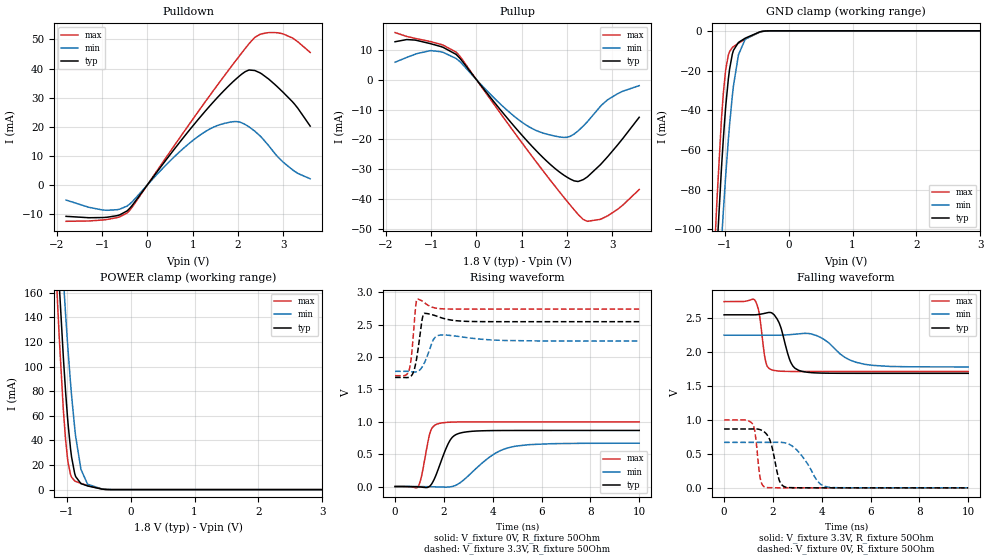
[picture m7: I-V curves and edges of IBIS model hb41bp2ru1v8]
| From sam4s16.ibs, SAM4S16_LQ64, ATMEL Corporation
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[Model] hb41bp2ru1v8
| config_pins "NO PIN CONFIG TO SEARCH"
Model_type   I/O
Polarity   Non-Inverting
Enable   Active-Low
Vinl = 0.4
Vinh = 1.4
Vmeas = 0.9
Vref = 0.90
Cref = 15pF
Rref = 50
|   typ   min   max
C_comp   2.679e-12   2.504e-12   3.091e-12
|C_comp (ON state)   2.436e-12   2.123e-12   3.214e-12
|C_comp (OFF state)   2.921e-12   2.885e-12   2.967e-12
[Voltage Range]   1.8   1.6   1.95
[Temperature Range]   25   125   -40
[Pullup Reference]   1.8   1.6   1.95
[Pulldown Reference]   0   0   0
[Power Clamp Reference]   1.8   1.6   1.95
[GND Clamp Reference]   0   0   0
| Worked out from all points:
|   slope of the pulldown table from 0 to 0.27 V, typ, clamps not added: 47.8 ohm
|   slope of the pullup table from 0 to 0.27 V, typ, clamps not added: 51.9 ohm
|   GND clamp passes 1 mA (typ) near -0.48 V on its own axis
|   POWER clamp passes 1 mA (typ) near -0.50 V on its own axis
|   falling waveform, V_fixture 3.3V, R_fixture 50Ohm: 20-80 % time 409ps typ, 1ns min, 220ps max; typ from 2.55 V to 1.69 V
|   rising waveform, V_fixture 0V, R_fixture 50Ohm: 20-80 % time 549ps typ, 1.31ns min, 304ps max; typ from 0 V to 0.866 V
|   rising waveform, V_fixture 3.3V, R_fixture 50Ohm: 20-80 % time 213ps typ, 299ps min, 150ps max; typ from 1.69 V to 2.55 V
|   falling waveform, V_fixture 0V, R_fixture 50Ohm: 20-80 % time 326ps typ, 727ps min, 182ps max; typ from 0.867 V to 0 V
[Pulldown]
|   Voltage   I(typ)   I(min)   I(max)
-1.8V     -10.84mA   -5.239mA   -12.55mA
-988.8mV  -11.26mA   -8.663mA   -12.1mA
-673.6mV  -10.61mA   -8.561mA   -11.28mA
-450mV    -8.983mA   -7.31mA    -9.691mA
593.6mV   12.25mA    9.636mA    13.47mA
1.238V    24.61mA    17.89mA    27.69mA
1.885V    35.34mA    21.68mA    41.32mA
2.238V    39.44mA    20.01mA    48.39mA
2.484V    38.54mA    16.91mA    51.71mA
2.896V    33.37mA    9.391mA    52.24mA
3.204V    28.62mA    5.213mA    50.51mA
3.598V    20.19mA    2.082mA    45.54mA
[GND Clamp]
|   Voltage   I(typ)   I(min)   I(max)
-1.8V     -645mA     -627.4mA   -664.1mA
-1.141V   -124.1mA   -159.1mA   -99.38mA
-1.12V    -110.4mA   -146.3mA   -85.13mA
-1.049V   -68.94mA   -106.1mA   -44.24mA
-1.021V   -54.36mA   -91.01mA   -31.55mA
-986.9mV  -39.5mA    -74.48mA   -20.48mA
-922.5mV  -19.2mA    -47.17mA   -10.43mA
-862.2mV  -9.825mA   -27.67mA   -7.925mA
-784mV    -5.844mA   -12.06mA   -6.247mA
-678.4mV  -3.704mA   -4.205mA   -4.197mA
-335.6mV  -49.75uA   -87.05uA   -43.74uA
3.598V    0A         0A         0A
[Pullup]
|   Voltage   I(typ)   I(min)   I(max)
-1.8V     12.69mA    5.84mA     15.76mA
-1.541V   13.43mA    7.452mA    14.46mA
-1.016V   12.05mA    9.726mA    12.75mA
-450mV    8.459mA    7.093mA    9.23mA
522.4mV   -9.951mA   -8.071mA   -11.1mA
1.086V    -19.95mA   -15.07mA   -22.76mA
1.777V    -30.21mA   -18.99mA   -36.41mA
2.162V    -33.86mA   -18.16mA   -43.56mA
2.444V    -32.61mA   -14.2mA    -47.35mA
2.734V    -28.54mA   -9.046mA   -46.74mA
3.118V    -21.89mA   -4.72mA    -43.41mA
3.598V    -12.59mA   -1.996mA   -36.76mA
[POWER Clamp]
|   Voltage   I(typ)   I(min)   I(max)
-1.8V     1.013A     972.6mA    1.054A
-1.158V   211.2mA    268.7mA    170.6mA
-1.139V   191.4mA    250.6mA    149.4mA
-1.115V   166.9mA    228mA      123.7mA
-1.049V   106.2mA    169.9mA    63.59mA
-986.9mV  59.37mA    120.2mA    25.84mA
-937.8mV  32.75mA    86.22mA    12.09mA
-873.6mV  13.04mA    50.11mA    7.077mA
-776mV    4.879mA    16.53mA    5.06mA
-672mV    2.976mA    4.384mA    3.358mA
-450mV    457.1uA    573.9uA    481.7uA
3.598V    0A         0A         0A
[Ramp]
R_load = 50
|   typ   min   max
dV/dt_r   0.519816/5.4879e-10   0.401529/1.3053e-09   0.599463/3.037e-10
dV/dt_f   0.516605/4.08839e-10   0.280468/1.00132e-09   0.617575/2.20034e-10
[Falling Waveform]
V_fixture = 3.3V
V_fixture_min = 2.85V
V_fixture_max = 3.6V
R_fixture = 50Ohm
C_fixture = 0F
|   Time   V(typ)   V(min)   V(max)
0s        2.547V     2.247V     2.742V
1.25ns    2.547V     2.247V     2.767V
1.45ns    2.554V     2.247V     2.544V
1.725ns   2.574V     2.247V     1.831V
2ns       2.563V     2.247V     1.732V
2.275ns   2.41V      2.247V     1.718V
2.725ns   1.853V     2.256V     1.714V
3.175ns   1.716V     2.271V     1.713V
5.725ns   1.686V     1.821V     1.713V
10ns      1.686V     1.78V      1.712V
[Rising Waveform]
V_fixture = 0V
V_fixture_min = 0V
V_fixture_max = 0V
R_fixture = 50Ohm
C_fixture = 0F
|   Time   V(typ)   V(min)   V(max)
0s        0V         0V         0V
950ps     -5.094mV   -610.8uV   2.147mV
1.075ns   -8.803mV   -1.322mV   144.7mV
1.45ns    15.94mV    -3.305mV   850.8mV
1.775ns   274.3mV    -6.312mV   971.5mV
2.275ns   727mV      -4.233mV   994.6mV
2.8ns     837.2mV    97.97mV    998.1mV
3.975ns   864.1mV    482.2mV    998.8mV
4.75ns    865.8mV    609.8mV    998.9mV
10ns      866.4mV    669.2mV    999.1mV
[Rising Waveform]
V_fixture = 3.3V
V_fixture_min = 2.85V
V_fixture_max = 3.6V
R_fixture = 50Ohm
C_fixture = 0F
|   Time   V(typ)   V(min)   V(max)
0s        1.686V     1.78V      1.712V
575ps     1.688V     1.777V     1.796V
675ps     1.715V     1.773V     2.026V
850ps     1.909V     1.77V      2.803V
900ps     2.014V     1.775V     2.895V
1.1ns     2.562V     1.841V     2.868V
1.2ns     2.677V     1.909V     2.841V
1.575ns   2.649V     2.274V     2.764V
1.875ns   2.61V      2.342V     2.747V
10ns      2.547V     2.247V     2.742V
[Falling Waveform]
|Gnd
V_fixture = 0V
V_fixture_min = 0V
V_fixture_max = 0V
R_fixture = 50Ohm
C_fixture = 0F
|   Time   V(typ)   V(min)   V(max)
0s        866.7mV    669.7mV    999.5mV
1.175ns   867mV      669.7mV    936.7mV
1.3ns     867.1mV    669.7mV    726.9mV
1.475ns   857.1mV    669.7mV    152.8mV
1.7ns     806.9mV    669.7mV    8.208mV
1.95ns    621.7mV    669.9mV    2.418mV
2.25ns    122.4mV    670.5mV    1.277mV
2.5ns     13.12mV    662.9mV    986uV
4.125ns   653uV      22.78mV    585.8uV
10ns      318.4uV    306.7uV    328.3uV
